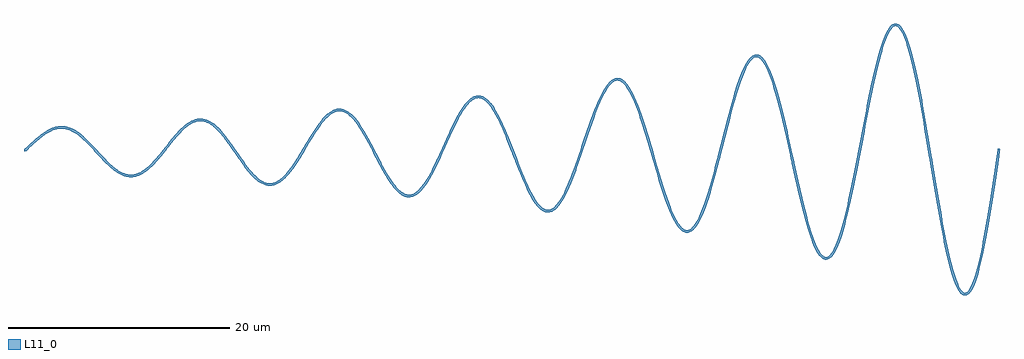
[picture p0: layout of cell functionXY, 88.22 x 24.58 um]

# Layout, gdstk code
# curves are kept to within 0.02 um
import gdstk
lib = gdstk.Library(unit=1e-6, precision=1e-09)
def P(c, l, *ps):  # polygons
    for p in ps: c.add(gdstk.Polygon(p, *l))
L11_0 = (11, 0)

functionxy = lib.new_cell('functionXY')
P(functionxy, L11_0, [(9.764,-10.867),(9.896,-9.965),(9.944,-9.905),(10.037,-9.896),(10.099,-9.952),(10.109,-10.016),(9.987,-10.867)],
  [(-33.765,-10.867),(-33.794,-10.791),(-33.97,-10.335),(-34,-10.259),(-34,-9.652),(-33.942,-9.801),(-33.853,-10.028),(-33.765,-10.256),(-33.677,-10.483),(-33.589,-10.711),(-33.529,-10.867)],
  [(-28.11,-10.867),(-26.66,-6.663),(-26.217,-5.573),(-25.772,-4.672),(-25.321,-4.003),(-24.943,-3.655),(-24.746,-3.553),(-24.446,-3.501),(-24.226,-3.54),(-24.038,-3.627),(-23.75,-3.86),(-23.382,-4.334),(-23.112,-4.806),(-22.756,-5.58),(-22.401,-6.499),(-21.959,-7.815),(-21.049,-10.867),(-21.278,-10.867),(-22.345,-7.339),(-22.696,-6.333),(-23.133,-5.265),(-23.481,-4.593),(-23.823,-4.105),(-24.147,-3.818),(-24.3,-3.747),(-24.447,-3.721),(-24.593,-3.736),(-24.744,-3.794),(-25.07,-4.052),(-25.408,-4.494),(-25.754,-5.106),(-26.103,-5.864),(-26.542,-6.976),(-27.878,-10.867)],
  [(-15.467,-10.867),(-14.154,-5.787),(-13.712,-4.311),(-13.269,-3.079),(-12.822,-2.152),(-12.452,-1.656),(-12.257,-1.498),(-12.05,-1.407),(-11.833,-1.392),(-11.621,-1.456),(-11.322,-1.687),(-10.958,-2.205),(-10.599,-2.97),(-10.244,-3.96),(-9.89,-5.15),(-9.537,-6.509),(-8.547,-10.867),(-8.773,-10.867),(-9.838,-6.21),(-10.278,-4.595),(-10.628,-3.512),(-10.977,-2.652),(-11.321,-2.039),(-11.485,-1.835),(-11.643,-1.698),(-11.79,-1.625),(-11.926,-1.609),(-12.066,-1.646),(-12.217,-1.741),(-12.549,-2.129),(-12.805,-2.581),(-13.153,-3.382),(-13.503,-4.379),(-13.942,-5.846),(-15.24,-10.867)],
  [(-2.844,-10.867),(-1.559,-4.268),(-1.118,-2.326),(-0.764,-1.007),(-0.32,0.278),(0.043,0.979),(0.233,1.213),(0.437,1.366),(0.662,1.423),(0.776,1.41),(0.897,1.364),(1.097,1.213),(1.285,0.979),(1.464,0.667),(1.823,-0.212),(2.178,-1.404),(2.532,-2.879),(2.973,-5.06),(3.971,-10.867),(3.748,-10.867),(3.109,-7.052),(2.669,-4.64),(2.229,-2.535),(1.878,-1.137),(1.528,-0.039),(1.268,0.568),(1.1,0.859),(0.938,1.061),(0.791,1.17),(0.664,1.201),(0.536,1.168),(0.388,1.056),(0.225,0.855),(0.054,0.564),(-0.204,-0.023),(-0.553,-1.069),(-0.904,-2.379),(-1.344,-4.314),(-2.62,-10.867)],
  [(-71.033,-10.867),(-72.353,-9.446),(-73.049,-8.801),(-73.48,-8.486),(-73.821,-8.294),(-74.159,-8.16),(-74.493,-8.087),(-74.826,-8.074),(-75.159,-8.12),(-75.495,-8.224),(-75.835,-8.384),(-76.264,-8.653),(-76.697,-8.987),(-77.941,-10.127),(-78.043,-10.135),(-78.11,-10.031),(-78.076,-9.954),(-76.927,-8.892),(-76.48,-8.537),(-76.03,-8.241),(-75.575,-8.019),(-75.207,-7.905),(-74.837,-7.854),(-74.465,-7.869),(-74.094,-7.95),(-73.634,-8.142),(-73.18,-8.424),(-72.731,-8.783),(-72.107,-9.383),(-70.729,-10.867)],
  [(-66.259,-10.867),(-64.43,-8.631),(-63.715,-7.897),(-63.263,-7.547),(-62.896,-7.343),(-62.523,-7.218),(-62.146,-7.178),(-61.768,-7.228),(-61.393,-7.367),(-61.025,-7.589),(-60.571,-7.972),(-60.123,-8.455),(-59.678,-9.017),(-58.384,-10.867),(-58.652,-10.867),(-59.942,-9.033),(-60.378,-8.496),(-60.81,-8.048),(-61.153,-7.768),(-61.49,-7.564),(-61.822,-7.441),(-62.149,-7.397),(-62.476,-7.432),(-62.806,-7.544),(-63.142,-7.731),(-63.484,-7.988),(-63.829,-8.307),(-64.264,-8.775),(-65.966,-10.867)],
  [(-53.491,-10.867),(-51.931,-8.304),(-51.219,-7.311),(-50.768,-6.829),(-50.402,-6.542),(-50.027,-6.356),(-49.639,-6.281),(-49.253,-6.33),(-48.877,-6.497),(-48.506,-6.776),(-48.053,-7.265),(-47.606,-7.889),(-47.162,-8.623),(-45.978,-10.867),(-46.225,-10.867),(-47.002,-9.371),(-47.528,-8.431),(-47.965,-7.751),(-48.311,-7.297),(-48.654,-6.939),(-48.99,-6.686),(-49.313,-6.542),(-49.632,-6.501),(-49.956,-6.564),(-50.2,-6.677),(-50.535,-6.916),(-50.877,-7.251),(-51.309,-7.786),(-51.746,-8.423),(-53.231,-10.867)],
  [(-40.781,-10.867),(-39.694,-8.459),(-39.163,-7.358),(-38.63,-6.408),(-38.182,-5.782),(-37.723,-5.34),(-37.439,-5.175),(-37.239,-5.11),(-36.94,-5.092),(-36.747,-5.131),(-36.544,-5.216),(-36.266,-5.405),(-35.989,-5.678),(-35.627,-6.16),(-35.269,-6.763),(-34.914,-7.472),(-34,-9.652),(-34,-10.259),(-35.025,-7.755),(-35.375,-7.032),(-35.724,-6.416),(-36.069,-5.925),(-36.407,-5.574),(-36.65,-5.409),(-36.807,-5.343),(-37.115,-5.312),(-37.428,-5.414),(-37.676,-5.582),(-38.013,-5.923),(-38.357,-6.391),(-38.793,-7.125),(-39.143,-7.808),(-40.539,-10.867)],
  [(-30.79,-15.649),(-31.091,-15.58),(-31.471,-15.335),(-31.749,-15.048),(-32.11,-14.54),(-32.468,-13.907),(-32.823,-13.169),(-33.765,-10.867),(-33.529,-10.867),(-32.973,-12.263),(-32.535,-13.269),(-32.185,-13.972),(-31.837,-14.558),(-31.58,-14.907),(-31.326,-15.17),(-31.086,-15.339),(-30.779,-15.429),(-30.477,-15.369),(-30.237,-15.218),(-29.985,-14.97),(-29.644,-14.495),(-29.297,-13.866),(-28.948,-13.1),(-28.11,-10.867),(-27.878,-10.867),(-28.303,-12.063),(-28.745,-13.186),(-29.1,-13.964),(-29.457,-14.612),(-29.819,-15.114),(-30.099,-15.39),(-30.29,-15.521),(-30.481,-15.606)],
  [(-18.189,-17.481),(-18.507,-17.4),(-18.698,-17.275),(-18.884,-17.097),(-19.251,-16.583),(-19.52,-16.074),(-19.876,-15.249),(-20.23,-14.28),(-20.672,-12.912),(-21.278,-10.867),(-21.049,-10.867),(-20.11,-13.949),(-19.671,-15.169),(-19.322,-15.979),(-19.062,-16.471),(-18.721,-16.949),(-18.481,-17.161),(-18.33,-17.236),(-18.187,-17.26),(-18.045,-17.238),(-17.895,-17.166),(-17.651,-16.948),(-17.399,-16.603),(-17.054,-15.948),(-16.706,-15.09),(-16.355,-14.054),(-15.916,-12.556),(-15.467,-10.867),(-15.24,-10.867),(-15.704,-12.615),(-16.145,-14.12),(-16.499,-15.166),(-16.854,-16.04),(-17.213,-16.72),(-17.487,-17.095),(-17.679,-17.281),(-17.876,-17.408)],
  [(-5.585,-19.917),(-5.707,-19.909),(-5.911,-19.833),(-6.11,-19.676),(-6.296,-19.451),(-6.66,-18.796),(-7.016,-17.891),(-7.371,-16.762),(-7.724,-15.447),(-8.773,-10.867),(-8.547,-10.867),(-7.599,-15.041),(-7.159,-16.702),(-6.809,-17.819),(-6.46,-18.705),(-6.201,-19.196),(-6.036,-19.43),(-5.876,-19.59),(-5.73,-19.675),(-5.598,-19.696),(-5.464,-19.658),(-5.314,-19.55),(-5.066,-19.238),(-4.723,-18.555),(-4.462,-17.852),(-4.112,-16.684),(-3.761,-15.284),(-3.321,-13.273),(-2.844,-10.867),(-2.62,-10.867),(-3.105,-13.317),(-3.546,-15.334),(-3.9,-16.742),(-4.254,-17.922),(-4.52,-18.64),(-4.88,-19.356),(-5.068,-19.612),(-5.257,-19.788),(-5.367,-19.856)],
  [(6.906,-23.158),(6.789,-23.129),(6.571,-22.98),(6.382,-22.745),(6.203,-22.424),(5.844,-21.503),(5.489,-20.252),(5.136,-18.709),(4.783,-16.925),(3.748,-10.867),(3.971,-10.867),(4.999,-16.884),(5.439,-19.072),(5.79,-20.537),(6.14,-21.692),(6.4,-22.327),(6.65,-22.739),(6.802,-22.886),(6.928,-22.936),(7.047,-22.914),(7.19,-22.804),(7.352,-22.587),(7.523,-22.261),(7.782,-21.585),(8.132,-20.347),(8.483,-18.761),(8.835,-16.873),(9.275,-14.172),(9.764,-10.867),(9.987,-10.867),(9.14,-16.397),(8.699,-18.805),(8.345,-20.4),(7.991,-21.654),(7.632,-22.538),(7.449,-22.837),(7.248,-23.049),(7.025,-23.153)],
  [(-68.486,-12.461),(-68.767,-12.434),(-69.047,-12.364),(-69.416,-12.21),(-69.689,-12.052),(-70.32,-11.567),(-71.033,-10.867),(-70.729,-10.867),(-70.001,-11.551),(-69.4,-11.969),(-68.895,-12.18),(-68.481,-12.241),(-68.069,-12.196),(-67.568,-11.999),(-66.971,-11.58),(-66.259,-10.867),(-65.966,-10.867),(-66.649,-11.587),(-67.281,-12.085),(-67.832,-12.356),(-68.111,-12.43)],
  [(-55.887,-13.239),(-56.173,-13.209),(-56.551,-13.08),(-56.829,-12.922),(-57.195,-12.639),(-57.824,-11.977),(-58.652,-10.867),(-58.384,-10.867),(-57.568,-11.939),(-57.221,-12.313),(-56.878,-12.617),(-56.374,-12.917),(-56.128,-12.993),(-55.886,-13.019),(-55.644,-12.994),(-55.4,-12.919),(-55.152,-12.792),(-54.9,-12.613),(-54.559,-12.297),(-54.213,-11.898),(-53.491,-10.867),(-53.231,-10.867),(-53.952,-11.922),(-54.31,-12.352),(-54.671,-12.708),(-55.038,-12.98),(-55.317,-13.123),(-55.6,-13.21)],
  [(-43.291,-14.273),(-43.589,-14.239),(-43.964,-14.078),(-44.243,-13.876),(-44.608,-13.509),(-44.968,-13.046),(-45.325,-12.5),(-46.225,-10.867),(-45.978,-10.867),(-45.05,-12.526),(-44.702,-13.039),(-44.356,-13.461),(-44.017,-13.776),(-43.768,-13.936),(-43.531,-14.026),(-43.296,-14.053),(-43.061,-14.015),(-42.816,-13.907),(-42.569,-13.731),(-42.231,-13.387),(-41.886,-12.926),(-41.539,-12.361),(-40.781,-10.867),(-40.539,-10.867),(-41.347,-12.47),(-41.704,-13.049),(-41.973,-13.419),(-42.244,-13.729),(-42.613,-14.039),(-42.997,-14.226)])

lib.write_gds('functionXY.gds')
